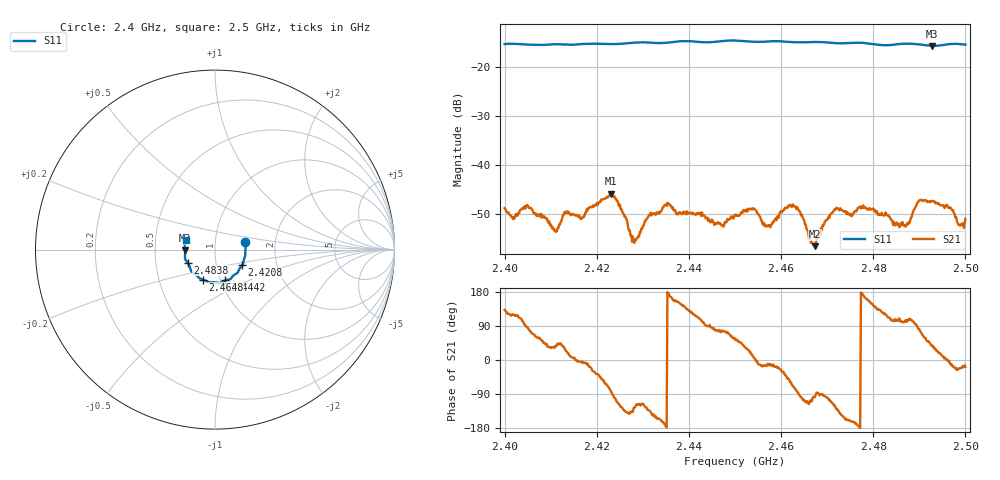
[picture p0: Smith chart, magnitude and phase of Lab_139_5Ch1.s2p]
# Hz S RI R 50
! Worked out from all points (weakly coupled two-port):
!   601 points, 2.4 GHz to 2.5 GHz, reference 50 ohm
!   highest |S21| = -45.80 dB at 2.423 GHz (marker M1); lowest = -56.5 dB at 2.4673 GHz (marker M2)
!   lowest |S11| = -15.6 dB at 2.4928 GHz (marker M3), VSWR 1.40, Z = 35.8 - j0.362 ohm
!   |S11| at or under -10 dB: start of sweep to end of sweep
!   S12 and S22 are empty: the file has one direction only
!   S11 on the Smith chart (normalised r, x): 2.4 GHz: 1.40, +0.12; 2.4208 GHz: 1.33, -0.24; 2.4442 GHz: 1.05, -0.37; 2.4648 GHz: 0.83, -0.28; 2.4838 GHz: 0.73, -0.11; 2.5 GHz: 0.72, +0.08
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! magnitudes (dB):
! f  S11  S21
! 2.4 GHz  -15.2  -48.7
! 2.4052 GHz  -15.4  -48.5
! 2.4108 GHz  -15.3  -53.4
! 2.4133 GHz  -15.4  -49.8
! 2.4167 GHz  -15.2  -50.9
! 2.4208 GHz  -15.2  -47.4
! 2.423 GHz  -15.2  -45.8
! 2.4282 GHz  -15.0  -55.8
! 2.4333 GHz  -15.0  -49.9
! 2.4442 GHz  -14.9  -51.4
! 2.45 GHz  -14.5  -50.4
! 2.454 GHz  -14.8  -48.7
! 2.4572 GHz  -14.7  -52.3
! 2.4623 GHz  -14.8  -48.5
! 2.4648 GHz  -14.9  -50.9
! 2.4667 GHz  -14.8  -55.7
! 2.4673 GHz  -14.8  -56.5
! 2.472 GHz  -15.1  -48.7
! 2.4833 GHz  -15.5  -50.4
! 2.4838 GHz  -15.4  -51.1
! 2.4928 GHz  -15.6  -47.3
! 2.5 GHz  -15.4  -50.9
